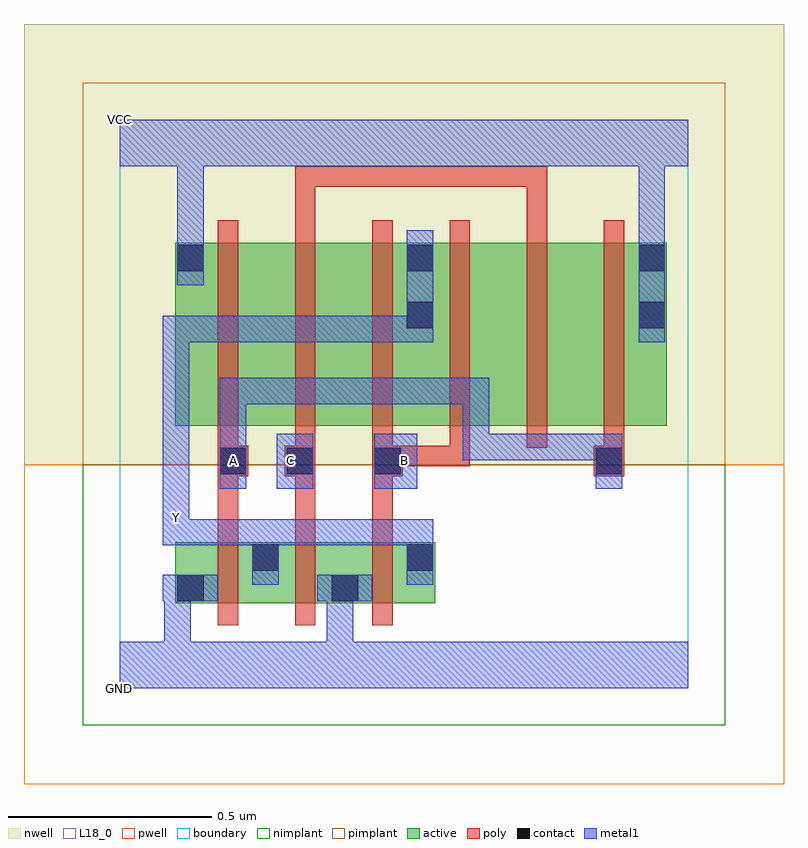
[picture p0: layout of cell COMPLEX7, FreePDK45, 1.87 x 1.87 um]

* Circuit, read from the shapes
.subckt COMPLEX7 A B C GND VCC Y
M1 Y A GND VSUBS nfet w=0.15u l=0.05u
M2 GND C Y VSUBS nfet w=0.15u l=0.05u
M3 Y B GND VSUBS nfet w=0.15u l=0.05u
M4 n1 A VCC n2 pfet w=0.45u l=0.05u
M5 n3 C n1 n2 pfet w=0.45u l=0.05u
M6 Y B n3 n2 pfet w=0.45u l=0.05u
M7 n4 B Y n2 pfet w=0.45u l=0.05u
M8 n5 C n4 n2 pfet w=0.45u l=0.05u
M9 VCC A n5 n2 pfet w=0.45u l=0.05u
.ends

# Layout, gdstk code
import gdstk
lib = gdstk.Library(unit=1e-6, precision=1e-09)
def R(c, l, rs):  # rectangles x0, y0, x1, y1
    for r in rs: c.add(gdstk.rectangle(r[:2], r[2:], *l))
def A(c, l, x, y, w, h, nx, ny, dx, dy):  # array of equal rectangles
    R(c, l, [(x+i*dx, y+j*dy, x+i*dx+w, y+j*dy+h) for i in range(nx) for j in range(ny)])
active = (1, 0)
pwell = (2, 0)
nwell = (3, 0)
nimplant = (4, 0)
pimplant = (5, 0)
poly = (9, 0)
contact = (10, 0)
metal1 = (11, 0)
L18_0 = (18, 0)
boundary = (235, 0)

complex7 = lib.new_cell('COMPLEX7')
R(complex7, active, [(0.137,0.21,0.397,0.36), (0.137,0.21,0.212,0.36), (0.322,0.21,0.397,0.36), (0.322,0.21,0.592,0.36), (0.517,0.21,0.777,0.36), (0.517,0.21,0.592,0.36), (0.702,0.285,0.777,0.36), (0.137,0.647,0.362,1.097), (0.362,0.647,0.552,1.097), (0.552,0.647,0.777,1.097), (0.702,0.647,0.932,1.097), (0.932,0.647,1.122,1.097), (1.122,0.647,1.347,1.097), (1.272,0.647,1.347,1.097), (0.702,0.732,0.777,1.097), (0.137,0.857,0.212,1.097)])
R(complex7, pwell, [(-0.235,-0.235,1.635,0.55)])
R(complex7, nwell, [(-0.235,0.55,1.635,1.635)])
R(complex7, nimplant, [(-0.09,-0.09,1.49,0.55)])
R(complex7, pimplant, [(-0.09,0.55,1.49,1.49)])
A(complex7, poly, 0.242, 0.155, 0.05, 0.26, 3, 1, 0.19, 0)
A(complex7, poly, 0.242, 0.365, 0.05, 0.207, 3, 1, 0.19, 0)
A(complex7, poly, 0.242, 0.547, 0.05, 0.095, 4, 1, 0.19, 0)
A(complex7, poly, 0.242, 0.592, 0.05, 0.56, 6, 1, 0.19, 0)
R(complex7, poly, [(0.242,0.522,0.317,0.597), (0.242,0.522,0.292,0.572), (0.242,0.522,0.292,0.572), (0.407,0.522,0.482,0.597), (0.622,0.522,0.697,0.597), (1.167,0.522,1.242,0.597), (0.432,0.547,0.482,0.597), (0.432,0.547,0.482,0.597), (0.622,0.547,0.672,0.597), (0.622,0.547,0.672,0.597), (0.622,0.547,0.862,0.597), (0.812,0.547,0.862,0.597), (0.812,0.547,0.862,0.597), (0.812,0.547,0.862,0.597), (1.192,0.547,1.242,0.642), (0.432,1.102,0.482,1.285), (1.002,1.102,1.052,1.285), (0.432,1.235,0.482,1.285), (0.432,1.235,0.482,1.285), (0.432,1.235,0.482,1.285), (0.432,1.235,0.652,1.285), (0.602,1.235,0.652,1.285), (0.602,1.235,0.652,1.285), (0.602,1.235,0.652,1.285), (0.602,1.235,0.92,1.285), (0.87,1.235,0.92,1.285), (0.87,1.235,1.052,1.285), (1.002,1.235,1.052,1.285), (1.002,1.235,1.052,1.285), (1.002,1.235,1.052,1.285)])
R(complex7, contact, [(0.142,0.215,0.207,0.28), (0.522,0.215,0.587,0.28), (0.327,0.29,0.392,0.355), (0.707,0.29,0.772,0.355), (0.247,0.527,0.312,0.592), (0.412,0.527,0.477,0.592), (0.627,0.527,0.692,0.592), (1.172,0.527,1.237,0.592), (0.707,0.887,0.772,0.952), (1.277,0.887,1.342,0.952), (0.142,1.027,0.207,1.092), (0.707,1.027,0.772,1.092), (1.277,1.027,1.342,1.092)])
R(complex7, metal1, [(0,0,1.4,0.115), (0.11,0.05,0.175,0.115), (0.11,0.05,0.175,0.115), (0.11,0.05,0.175,0.28), (0.51,0.05,0.575,0.28), (0.107,0.215,0.242,0.28), (0.487,0.215,0.622,0.28), (0.51,0.215,0.575,0.28), (0.51,0.215,0.575,0.28), (0.327,0.255,0.392,0.417), (0.707,0.255,0.772,0.39), (0.707,0.325,0.772,0.39), (0.707,0.325,0.772,0.417), (0.107,0.352,0.172,0.417), (0.107,0.352,0.172,0.417), (0.107,0.352,0.172,0.417), (0.107,0.352,0.172,0.417), (0.107,0.352,0.172,0.487), (0.107,0.352,0.392,0.417), (0.327,0.352,0.53,0.417), (0.465,0.352,0.53,0.417), (0.465,0.352,0.53,0.417), (0.465,0.352,0.53,0.417), (0.465,0.352,0.772,0.417), (0.107,0.422,0.172,0.917), (0.247,0.492,0.312,0.627), (0.387,0.492,0.477,0.627), (0.627,0.492,0.732,0.627), (1.172,0.492,1.237,0.627), (0.247,0.562,0.312,0.627), (0.247,0.562,0.312,0.765), (0.845,0.562,1.047,0.627), (0.845,0.562,0.91,0.765), (0.982,0.562,1.047,0.627), (0.982,0.562,1.047,0.627), (0.982,0.562,1.047,0.627), (0.982,0.562,1.205,0.627), (1.14,0.562,1.205,0.627), (1.14,0.562,1.237,0.627), (0.247,0.7,0.555,0.765), (0.49,0.7,0.555,0.765), (0.49,0.7,0.555,0.765), (0.49,0.7,0.555,0.765), (0.49,0.7,0.692,0.765), (0.627,0.7,0.692,0.765), (0.627,0.7,0.91,0.765), (0.845,0.7,0.91,0.765), (0.845,0.7,0.91,0.765), (0.107,0.852,0.172,0.917), (0.107,0.852,0.172,0.917), (0.107,0.852,0.172,0.917), (0.107,0.852,0.315,0.917), (0.25,0.852,0.315,0.917), (0.25,0.852,0.315,0.917), (0.25,0.852,0.315,0.917), (0.25,0.852,0.53,0.917), (0.465,0.852,0.53,0.917), (0.465,0.852,0.53,0.917), (0.465,0.852,0.53,0.917), (0.465,0.852,0.772,0.917), (0.707,0.852,0.772,0.917), (0.707,0.852,0.772,0.917), (0.707,0.852,0.772,1.127), (1.277,0.852,1.342,1.127), (0.142,0.992,0.207,1.127), (0.142,1.062,0.207,1.35), (0.142,1.062,0.207,1.127), (0.142,1.062,0.207,1.127), (1.277,1.062,1.342,1.35), (0,1.285,1.4,1.4), (1.277,1.285,1.342,1.35), (1.277,1.285,1.342,1.35)])
R(complex7, L18_0, [(0,0,1.4,0.115), (0.11,0.05,0.175,0.115), (0.11,0.05,0.175,0.115), (0.11,0.05,0.175,0.28), (0.51,0.05,0.575,0.28), (0.107,0.215,0.242,0.28), (0.487,0.215,0.622,0.28), (0.51,0.215,0.575,0.28), (0.51,0.215,0.575,0.28), (0.327,0.255,0.392,0.417), (0.707,0.255,0.772,0.39), (0.707,0.325,0.772,0.39), (0.707,0.325,0.772,0.417), (0.107,0.352,0.172,0.417), (0.107,0.352,0.172,0.417), (0.107,0.352,0.172,0.417), (0.107,0.352,0.172,0.417), (0.107,0.352,0.172,0.487), (0.107,0.352,0.392,0.417), (0.327,0.352,0.53,0.417), (0.465,0.352,0.53,0.417), (0.465,0.352,0.53,0.417), (0.465,0.352,0.53,0.417), (0.465,0.352,0.772,0.417), (0.107,0.387,0.172,0.452), (0.107,0.422,0.172,0.917), (0.247,0.492,0.312,0.627), (0.387,0.492,0.477,0.627), (0.627,0.492,0.732,0.627), (1.172,0.492,1.237,0.627), (0.247,0.527,0.312,0.592), (0.387,0.527,0.452,0.592), (0.667,0.527,0.732,0.592), (0.247,0.562,0.312,0.627), (0.247,0.562,0.312,0.765), (0.845,0.562,0.91,0.765), (0.845,0.562,1.047,0.627), (0.982,0.562,1.047,0.627), (0.982,0.562,1.047,0.627), (0.982,0.562,1.047,0.627), (0.982,0.562,1.205,0.627), (1.14,0.562,1.205,0.627), (1.14,0.562,1.237,0.627), (0.247,0.7,0.555,0.765), (0.49,0.7,0.555,0.765), (0.49,0.7,0.555,0.765), (0.49,0.7,0.555,0.765), (0.49,0.7,0.692,0.765), (0.627,0.7,0.692,0.765), (0.627,0.7,0.91,0.765), (0.845,0.7,0.91,0.765), (0.845,0.7,0.91,0.765), (0.107,0.852,0.172,0.917), (0.107,0.852,0.172,0.917), (0.107,0.852,0.172,0.917), (0.107,0.852,0.315,0.917), (0.25,0.852,0.315,0.917), (0.25,0.852,0.315,0.917), (0.25,0.852,0.315,0.917), (0.25,0.852,0.53,0.917), (0.465,0.852,0.53,0.917), (0.465,0.852,0.53,0.917), (0.465,0.852,0.53,0.917), (0.465,0.852,0.772,0.917), (0.707,0.852,0.772,0.917), (0.707,0.852,0.772,0.917), (0.707,0.852,0.772,1.127), (1.277,0.852,1.342,1.127), (0.142,0.992,0.207,1.127), (0.142,1.062,0.207,1.127), (0.142,1.062,0.207,1.127), (0.142,1.062,0.207,1.35), (1.277,1.062,1.342,1.35), (0,1.285,1.4,1.4), (1.277,1.285,1.342,1.35), (1.277,1.285,1.342,1.35)])
R(complex7, boundary, [(0,0,1.4,1.4)])
complex7.add(gdstk.Label('A', (0.28,0.56), layer=11, texttype=0))
complex7.add(gdstk.Label('B', (0.7,0.56), layer=11, texttype=0))
complex7.add(gdstk.Label('C', (0.42,0.56), layer=11, texttype=0))
complex7.add(gdstk.Label('Y', (0.14,0.42), layer=11, texttype=0))
complex7.add(gdstk.Label('VCC', (0,1.4), layer=11, texttype=0))
complex7.add(gdstk.Label('GND', (0,0), layer=11, texttype=0))

lib.write_gds('COMPLEX7.gds')
